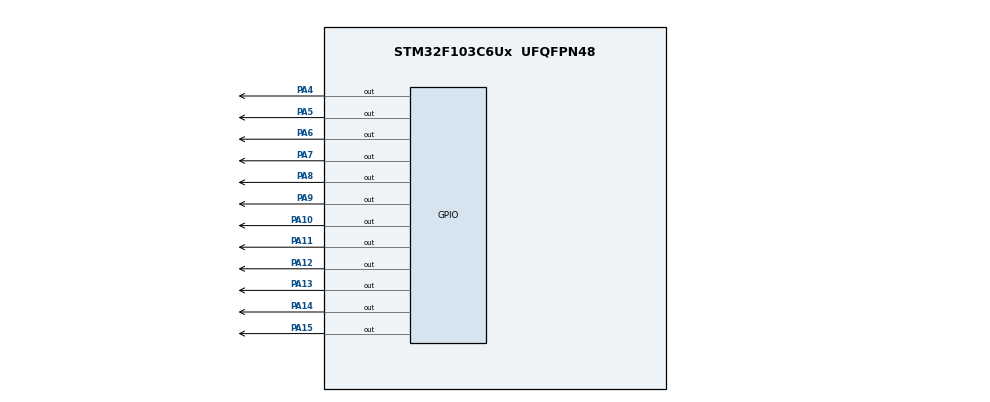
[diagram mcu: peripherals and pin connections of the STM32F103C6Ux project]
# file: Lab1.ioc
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Mcu.Family=STM32F1
Mcu.Name=STM32F103C6Ux
Mcu.Package=UFQFPN48
NVIC.PriorityGroup=NVIC_PRIORITYGROUP_4
PA10.Signal=GPIO_Output
PA11.Signal=GPIO_Output
PA12.Signal=GPIO_Output
PA13.Signal=GPIO_Output
PA14.Signal=GPIO_Output
PA15.Signal=GPIO_Output
PA4.Signal=GPIO_Output
PA5.Signal=GPIO_Output
PA6.Signal=GPIO_Output
PA7.Signal=GPIO_Output
PA8.Signal=GPIO_Output
PA9.Signal=GPIO_Output
ProjectManager.HeapSize=0x200
ProjectManager.StackSize=0x400
ProjectManager.TargetToolchain=STM32CubeIDE
RCC.APB1Freq_Value=8000000
RCC.APB2Freq_Value=8000000
VP_SYS_VS_ND.Mode=No_Debug
board=custom

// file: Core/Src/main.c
/* USER CODE BEGIN Header */
/**
  ******************************************************************************
  * @file           : main.c
  * @brief          : Main program body
  ******************************************************************************
  * @attention
  *
  * <h2><center>&copy; Copyright (c) 2023 STMicroelectronics.
  * All rights reserved.</center></h2>
  *
  * This software component is licensed by ST under BSD 3-Clause license,
  * the "License"; You may not use this file except in compliance with the
  * License. You may obtain a copy of the License at:
  *                        opensource.org/licenses/BSD-3-Clause
  *
  ******************************************************************************
  */
/* USER CODE END Header */
#include "main.h"

void SystemClock_Config(void);
static void MX_GPIO_Init(void);

int main(void)
{

  /* MCU Configuration--------------------------------------------------------*/

  /* Reset of all peripherals, Initializes the Flash interface and the Systick. */
  HAL_Init();

  /* Configure the system clock */
  SystemClock_Config();

  /* Initialize all configured peripherals */
  MX_GPIO_Init();
  /* USER CODE BEGIN 2 */
  uint16_t numbers[12] = {
          GPIO_PIN_4,  // 0
          GPIO_PIN_5,  // 1
          GPIO_PIN_6,  // 2
          GPIO_PIN_7,  // 3
          GPIO_PIN_8,  // 4
          GPIO_PIN_9,  // 5
          GPIO_PIN_10, // 6
          GPIO_PIN_11, // 7
          GPIO_PIN_12, // 8
          GPIO_PIN_13, // 9
          GPIO_PIN_14, // 10
          GPIO_PIN_15, // 11
      };

  // Xóa màn hình
  GPIOA->ODR = 0xFFFF;

  int hour = 0; int minute = 0; int second = 0;
  /* USER CODE END 2 */

  /* Infinite loop */
  while (1)
  {
	  for(int i = 0; i < 12*60*60; i++) {
	  		  hour = i/3600;
	  		  minute = (i/300)%12;
	  		  second = (i/5)%12;
	  		  if(i % 3600 == 0) {
	  			  HAL_GPIO_WritePin(GPIOA, numbers[hour], GPIO_PIN_RESET);
	  			  if((hour+11)%12 != minute && (hour+11)%12 != second) {
	  				  HAL_GPIO_WritePin(GPIOA, numbers[(hour+11)%12], GPIO_PIN_SET);
	  			  }
	  		  }
	  		  if(i % 300 == 0) {
	  			  HAL_GPIO_WritePin(GPIOA, numbers[minute], GPIO_PIN_RESET);
	  			  if((minute+11)%12 != hour && (minute+11)%12 != second) {
	  				  HAL_GPIO_WritePin(GPIOA, numbers[(minute+11)%12], GPIO_PIN_SET);
	  			  }
	  		  }
	  		  if(i % 5 == 0) {
	  			  HAL_GPIO_WritePin(GPIOA, numbers[second], GPIO_PIN_RESET);
	  			  if((second+11)%12 != hour && (second+11)%12 != minute) {
	  				  HAL_GPIO_WritePin(GPIOA, numbers[(second+11)%12], GPIO_PIN_SET);
	  			  }
	  		  }
	  		  HAL_Delay(200);
	  }
  }
}

void SystemClock_Config(void)
{
  RCC_OscInitTypeDef RCC_OscInitStruct = {0};
  RCC_ClkInitTypeDef RCC_ClkInitStruct = {0};

  /** Initializes the RCC Oscillators according to the specified parameters
  * in the RCC_OscInitTypeDef structure.
  */
  RCC_OscInitStruct.OscillatorType = RCC_OSCILLATORTYPE_HSI;
  RCC_OscInitStruct.HSIState = RCC_HSI_ON;
  RCC_OscInitStruct.HSICalibrationValue = RCC_HSICALIBRATION_DEFAULT;
  RCC_OscInitStruct.PLL.PLLState = RCC_PLL_NONE;
  if (HAL_RCC_OscConfig(&RCC_OscInitStruct) != HAL_OK)
  {
    Error_Handler();
  }
  /** Initializes the CPU, AHB and APB buses clocks
  */
  RCC_ClkInitStruct.ClockType = RCC_CLOCKTYPE_HCLK|RCC_CLOCKTYPE_SYSCLK
                              |RCC_CLOCKTYPE_PCLK1|RCC_CLOCKTYPE_PCLK2;
  RCC_ClkInitStruct.SYSCLKSource = RCC_SYSCLKSOURCE_HSI;
  RCC_ClkInitStruct.AHBCLKDivider = RCC_SYSCLK_DIV1;
  RCC_ClkInitStruct.APB1CLKDivider = RCC_HCLK_DIV1;
  RCC_ClkInitStruct.APB2CLKDivider = RCC_HCLK_DIV1;

  if (HAL_RCC_ClockConfig(&RCC_ClkInitStruct, FLASH_LATENCY_0) != HAL_OK)
  {
    Error_Handler();
  }
}

static void MX_GPIO_Init(void)
{
  GPIO_InitTypeDef GPIO_InitStruct = {0};

  /* GPIO Ports Clock Enable */
  __HAL_RCC_GPIOA_CLK_ENABLE();

  /*Configure GPIO pin Output Level */
  HAL_GPIO_WritePin(GPIOA, GPIO_PIN_4|GPIO_PIN_5|GPIO_PIN_6|GPIO_PIN_7
                          |GPIO_PIN_8|GPIO_PIN_9|GPIO_PIN_10|GPIO_PIN_11
                          |GPIO_PIN_12|GPIO_PIN_13|GPIO_PIN_14|GPIO_PIN_15, GPIO_PIN_RESET);

  /*Configure GPIO pins : PA4 PA5 PA6 PA7
                           PA8 PA9 PA10 PA11
                           PA12 PA13 PA14 PA15 */
  GPIO_InitStruct.Pin = GPIO_PIN_4|GPIO_PIN_5|GPIO_PIN_6|GPIO_PIN_7
                          |GPIO_PIN_8|GPIO_PIN_9|GPIO_PIN_10|GPIO_PIN_11
                          |GPIO_PIN_12|GPIO_PIN_13|GPIO_PIN_14|GPIO_PIN_15;
  GPIO_InitStruct.Mode = GPIO_MODE_OUTPUT_PP;
  GPIO_InitStruct.Pull = GPIO_NOPULL;
  GPIO_InitStruct.Speed = GPIO_SPEED_FREQ_LOW;
  HAL_GPIO_Init(GPIOA, &GPIO_InitStruct);

}

void Error_Handler(void)
{
  __disable_irq();
  while (1)
  {
  }
}

/************************ (C) COPYRIGHT STMicroelectronics *****END OF FILE****/
